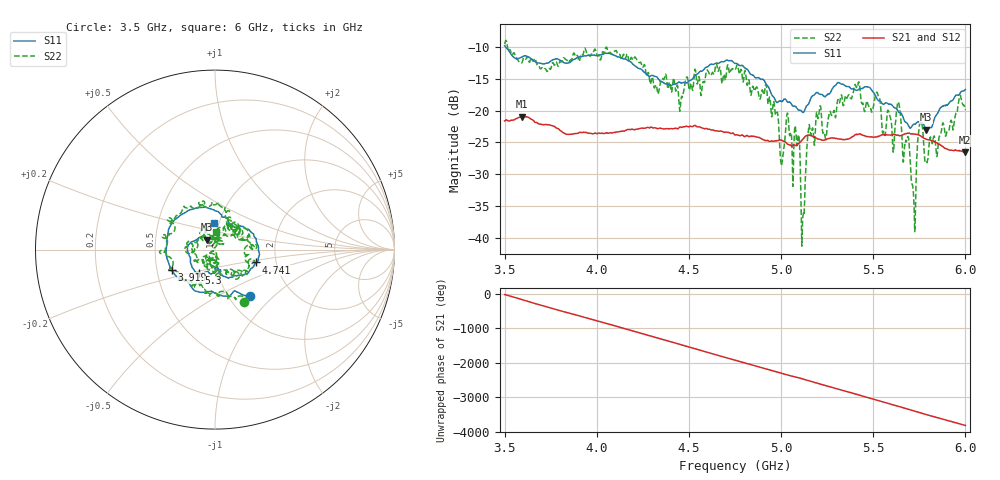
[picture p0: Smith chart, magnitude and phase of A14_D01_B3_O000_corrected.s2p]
! Created with skrf 1.9.0 (http://scikit-rf.org).
# Hz S RI R 50.0
!freq ReS11 ImS11 ReS21 ImS21 ReS12 ImS12 ReS22 ImS22
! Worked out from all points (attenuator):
!   1601 points, 3.5 GHz to 6 GHz, reference 50 ohm
!   highest |S21| = -20.94 dB at 3.592 GHz (marker M1); lowest = -26.6 dB at 5.998 GHz (marker M2)
!   lowest |S11| = -23.0 dB at 5.787 GHz (marker M3), VSWR 1.15, Z = 45.6 + j5.15 ohm
!   |S11| at or under -10 dB: 3.506 GHz to end of sweep
!   |S22| runs from -41.3 to -9.0 dB; largest |S21 - S12| = 0.0013
!   S11 on the Smith chart (normalised r, x): 3.5 GHz: 1.26, -0.72; 3.919 GHz: 0.60, -0.15; 4.741 GHz: 1.57, -0.24; 5.3 GHz: 0.81, -0.22; 6 GHz: 0.94, +0.28
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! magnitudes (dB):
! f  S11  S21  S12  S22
! 3.5 GHz  -9.8  -21.6  -21.6  -9.5
! 3.592 GHz  -11.6  -20.9  -21.0  -12.5
! 3.917 GHz  -11.5  -23.5  -23.4  -11.1
! 3.919 GHz  -11.5  -23.4  -23.5  -11.1
! 4.334 GHz  -15.0  -22.8  -22.8  -17.3
! 4.741 GHz  -12.4  -23.6  -23.6  -13.4
! 4.75 GHz  -12.6  -23.8  -23.8  -13.5
! 4.927 GHz  -16.1  -24.7  -24.7  -18.2
! 5.005 GHz  -18.5  -24.7  -24.7  -28.2
! 5.086 GHz  -19.6  -25.4  -25.4  -25.5
! 5.119 GHz  -20.3  -24.5  -24.4  -36.5
! 5.145 GHz  -19.1  -23.9  -23.9  -23.8
! 5.167 GHz  -17.8  -24.0  -24.0  -23.1
! 5.3 GHz  -15.9  -24.4  -24.4  -20.1
! 5.412 GHz  -16.8  -23.7  -23.8  -16.2
! 5.584 GHz  -19.0  -23.8  -23.8  -20.1
! 5.639 GHz  -20.3  -23.9  -23.9  -18.8
! 5.719 GHz  -22.2  -23.7  -23.7  -33.3
! 5.755 GHz  -21.9  -24.0  -23.9  -21.8
! 5.787 GHz  -23.0  -24.5  -24.5  -28.1
! 5.998 GHz  -16.8  -26.6  -26.5  -19.7
! 6 GHz  -16.7  -26.6  -26.5  -19.9
